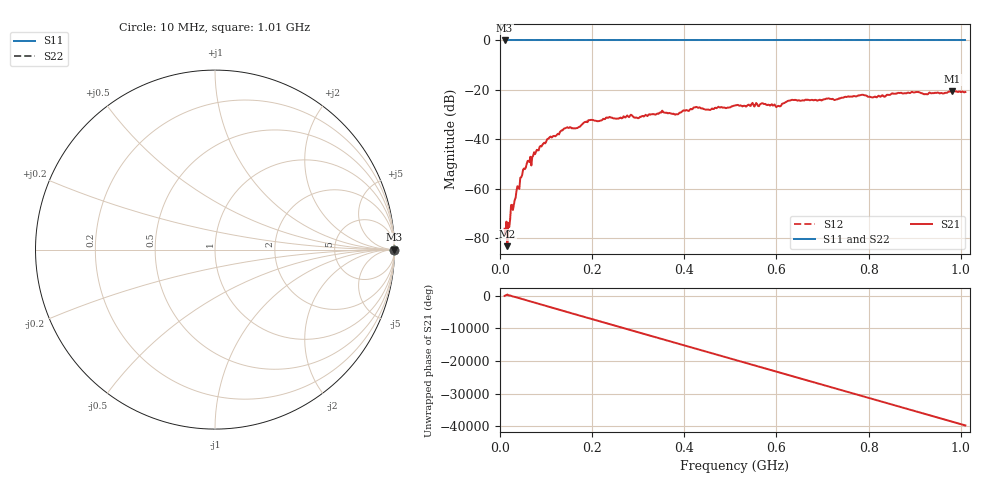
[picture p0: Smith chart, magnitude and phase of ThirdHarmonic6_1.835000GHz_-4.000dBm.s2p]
! 8/16/2025 10:13:04 PM
! C:\ANRITSUVNA\TEMP\TEMP.S2P
! CHANNEL.1
! TR.MEASUREMENT
! RAW.DATA
! RF.CORRECTION.OFF
! AVERAGING.OFF
! IF.BANDWIDTH: 5KHZ
! SWEEPTYPE:  FREQ.SWEEP(Linear)
! Reference Plane Port Info
! PORT:  PORT1  PORT2
! DISTANCE:  0  m  0  m
! TIME:  0  s  0  s
! PHASE.OFFSET:  0  deg.  0  deg.
! LOSS:  0  dB  0  dB
! REF.LOSS:  0  dB  0  dB
! REF.FREQ:  0  Hz  0  Hz
! Power Info
! POWER:  -20  dBm  -20  dBm
! EFF.POWER:  -20  dBm  -20  dBm
! SOURCE.ATTEN:  0  dB  0  dB
! TEST.ATTEN:  0  dB  0  dB
# GHZ S RI R 50.0
! FREQ.GHZ  S11RE  S11IM  S21RE  S21IM  S12RE  S12IM  S22RE  S22IM
!; PortSelection: Port_12
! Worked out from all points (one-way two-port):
!   501 points, 10 MHz to 1.01 GHz, reference 50 ohm
!   highest |S21| = -20.49 dB at 982 MHz (marker M1); lowest = -83.1 dB at 16 MHz (marker M2)
!   lowest |S11| = 0.0 dB at 10 MHz (marker M3)
!   |S11| at or under -10 dB: nowhere
!   |S22| runs from 0.0 to 0.0 dB; largest |S21 - S12| = 1.1
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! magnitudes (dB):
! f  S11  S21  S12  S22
! 10 MHz  0.0  -76.1  0.0  0.0
! 16 MHz  0.0  -83.1  0.0  0.0
! 28 MHz  0.0  -68.5  0.0  0.0
! 48 MHz  0.0  -54.4  0.0  0.0
! 62 MHz  0.0  -48.6  0.0  0.0
! 106 MHz  0.0  -39.5  0.0  0.0
! 142 MHz  0.0  -35.5  0.0  0.0
! 178 MHz  0.0  -33.9  0.0  0.0
! 196 MHz  0.0  -32.1  0.0  0.0
! 298 MHz  0.0  -31.3  0.0  0.0
! 344 MHz  0.0  -29.6  0.0  0.0
! 382 MHz  0.0  -29.8  0.0  0.0
! 424 MHz  0.0  -27.0  0.0  0.0
! 454 MHz  0.0  -28.1  0.0  0.0
! 510 MHz  0.0  -26.2  0.0  0.0
! 572 MHz  0.0  -25.6  0.0  0.0
! 604 MHz  0.0  -26.4  0.0  0.0
! 630 MHz  0.0  -24.3  0.0  0.0
! 678 MHz  0.0  -24.0  0.0  0.0
! 844 MHz  0.0  -22.0  0.0  0.0
! 982 MHz  0.0  -20.5  0.0  0.0
! 1.01 GHz  0.0  -20.8  0.0  0.0
